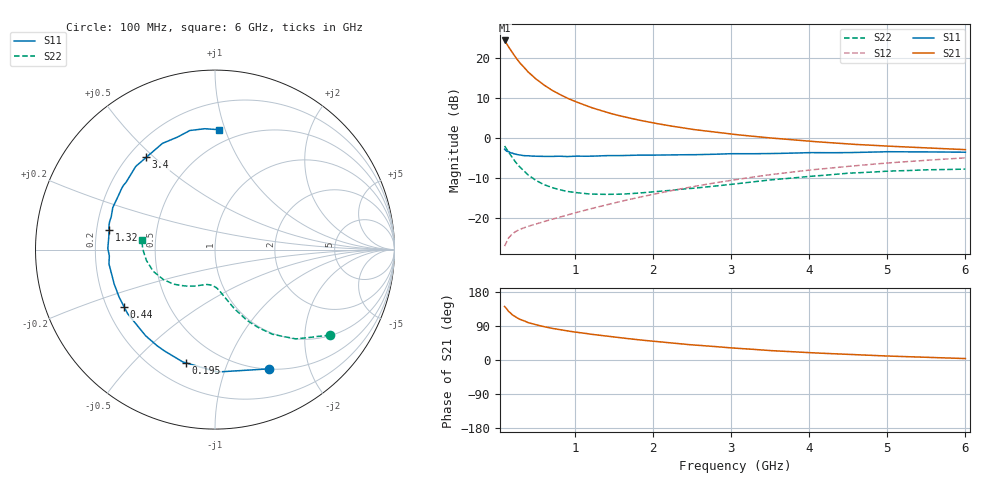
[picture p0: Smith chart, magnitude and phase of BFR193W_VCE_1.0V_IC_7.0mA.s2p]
! Infineon Technologies  Discrete & RF Semiconductors
! BFR193W
! VCE =  1.0 V,  IC =  7.0 mA
! Common Emitter S-Parameters:  Nov 2015
# GHz  S  MA  R  50
!  f  S11  S21  S12  S22
! GHz  MAG  ANG  MAG  ANG  MAG  ANG  MAG  ANG
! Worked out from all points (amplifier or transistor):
!   192 points, 100 MHz to 6 GHz, reference 50 ohm
!   highest |S21| = 24.5 dB at 100 MHz (marker M1)
!   |S21| within 3 dB of that: start of sweep to 197.6 MHz
!   unconditionally stable (mu >= 1): 1.063 GHz to 2.767 GHz
!   at 440 MHz: K = 0.62, MSG = 18.9 dB, |S12| = -21.8 dB
!   at 1.7 GHz: K = 1.07, MAG = 8.6 dB, |S12| = -15.3 dB
!   at 6 GHz: K = 0.95, MSG = 1.0 dB, |S12| = -4.9 dB
!   S11 on the Smith chart (normalised r, x): 100 MHz: 0.50, -1.42; 195 MHz: 0.33, -0.72; 440 MHz: 0.27, -0.27; 1.32 GHz: 0.25, +0.09; 3.4 GHz: 0.27, +0.47; 6 GHz: 0.39, +0.95
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0.1  0.7286 -65.8  16.77 141.3  0.0445 59.5  0.799 -36.6
0.15  0.682 -88.8  13.99 128.4  0.0563 51.4  0.6706 -47.9
0.195  0.6514 -104.2  11.98 120.1  0.0628 46.8  0.5789 -55.0
0.2  0.651 -106.0  11.77 119.0  0.0635 46.3  0.5694 -55.9
0.24  0.6312 -116.3  10.36 113.8  0.0676 44.1  0.5036 -60.4
0.26  0.6255 -120.9  9.746 111.3  0.0695 43.3  0.4761 -62.4
0.3  0.6164 -128.8  8.681 106.9  0.0725 42.3  0.4307 -65.8
0.4  0.6037 -143.7  6.767 98.8  0.0788 41.8  0.3479 -71.7
0.44  0.5986 -147.6  6.266 96.7  0.081 42.2  0.3272 -73.1
0.5  0.5962 -153.5  5.533 92.9  0.0842 42.8  0.2967 -75.7
0.6  0.5935 -161.1  4.672 88.1  0.0902 44.4  0.2635 -79.4
0.7  0.5919 -167.1  4.027 83.8  0.0963 46.1  0.2418 -82.0
0.9  0.5898 -176.6  3.181 76.8  0.1092 49.6  0.2157 -86.9
1.1  0.5954 176.1  2.663 71.2  0.1233 52.4  0.2043 -91.7
1.32  0.601 169.5  2.243 65.3  0.1398 54.6  0.1987 -96.9
1.6  0.6065 162.4  1.884 58.2  0.1628 56.8  0.1995 -103.0
2.08  0.6162 151.2  1.508 47.9  0.2058 58.1  0.216 -112.8
3.1  0.6396 131.9  1.101 30.6  0.3073 54.7  0.2709 -132.2
3.4  0.6411 126.7  1.031 26.4  0.3388 52.8  0.2925 -138.3
4.1  0.6595 114.7  0.903 18.4  0.408 47.1  0.3381 -152.2
5.1  0.6769 100.5  0.789 9.8  0.4976 38.0  0.3892 -173.0
6  0.6684 88.2  0.72 3.8  0.5678 29.1  0.4107 172.9
